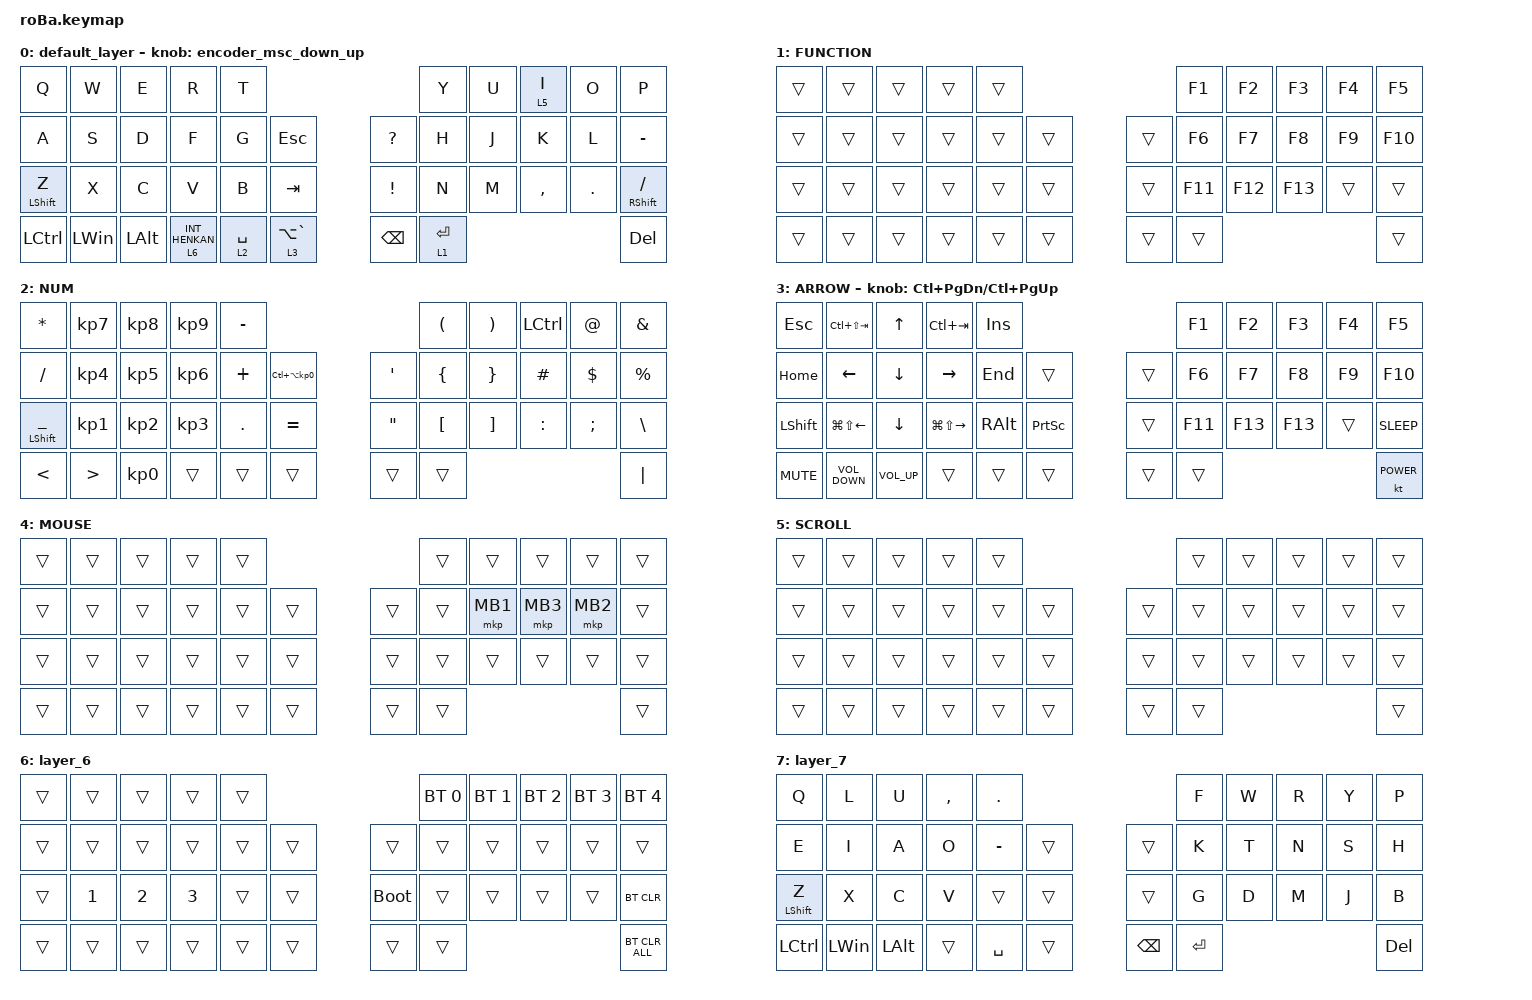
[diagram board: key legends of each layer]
#include <behaviors.dtsi>
#include <dt-bindings/zmk/bt.h>
#include <dt-bindings/zmk/keys.h>
#include <dt-bindings/zmk/pointing.h>

#define ZMK_POINTING_DEFAULT_SCRL_VAL 80

&mt {
    flavor = "balanced";
    quick-tap-ms = <0>;
};

&trackball {
    automouse-layer = <4>;
    scroll-layers = <5>;

    // arrows {
    //     layers = <3>;
    //     bindings =
    //         <&kp RIGHT_ARROW>,
    //         <&kp LEFT_ARROW>,
    //         <&kp UP_ARROW>,
    //         <&kp DOWN_ARROW>;
    //     tick = <10>;
    //     wait-ms = <5>;
    //     tap-ms = <5>;
    // };
};

/ {
    combos {
        compatible = "zmk,combos";

        tab {
            bindings = <&kp TAB>;
            key-positions = <11 12>;
        };

        shift_tab {
            bindings = <&kp LS(TAB)>;
            key-positions = <12 13>;
        };

        muhennkann {
            bindings = <&to_layer_0 INT_MUHENKAN>;
            key-positions = <11 10>;
        };

        double_quotation {
            bindings = <&kp DOUBLE_QUOTES>;
            key-positions = <20 21>;
        };

        eq {
            bindings = <&kp EQUAL>;
            key-positions = <24 25>;
        };
    };

    macros {
        to_layer_0: to_layer_0 {
            compatible = "zmk,behavior-macro-one-param";
            #binding-cells = <1>;
            bindings = <&to 0 &macro_param_1to1 &kp MACRO_PLACEHOLDER>;
            label = "TO_LAYER_0";
        };
    };

    behaviors {
        encoder_msc_down_up: encoder_msc_down_up {
            compatible = "zmk,behavior-sensor-rotate";
            label = "ENCODER_MSC_DOWN_UP";
            #sensor-binding-cells = <0>;
            bindings = <&msc SCRL_DOWN>, <&msc SCRL_UP>;

            tap-ms = <20>;
        };
    };

    behaviors {
        lt_to_layer_0: lt_to_layer_0 {
            compatible = "zmk,behavior-hold-tap";
            label = "LAYER_TAP_TO_0";
            bindings = <&mo>, <&to_layer_0>;

            #binding-cells = <2>;
            tapping-term-ms = <200>;
        };
    };

    keymap {
        compatible = "zmk,keymap";

        default_layer {
            bindings = <
&kp Q             &kp W         &kp E         &kp R                        &kp T                                                         &kp Y        &kp U  &lt 5 I    &kp O    &kp P
&kp A             &kp S         &kp D         &kp F                        &kp G        &kp ESC                         &kp QMARK        &kp H        &kp J  &kp K      &kp L    &kp MINUS
&mt LEFT_SHIFT Z  &kp X         &kp C         &kp V                        &kp B        &kp TAB                         &kp EXCLAMATION  &kp N        &kp M  &kp COMMA  &kp DOT  &mt RSHFT SLASH
&kp LCTRL         &kp LEFT_WIN  &kp LEFT_ALT  &lt_to_layer_0 6 INT_HENKAN  &lt 2 SPACE  &lt_to_layer_0 3 LA(GRAVE)      &kp BACKSPACE    &lt 1 ENTER                             &kp DEL
            >;

            sensor-bindings = <&encoder_msc_down_up>;
        };

        FUNCTION {
            bindings = <
&trans  &trans  &trans  &trans  &trans                      &kp F1   &kp F2   &kp F3   &kp F4  &kp F5
&trans  &trans  &trans  &trans  &trans  &trans      &trans  &kp F6   &kp F7   &kp F8   &kp F9  &kp F10
&trans  &trans  &trans  &trans  &trans  &trans      &trans  &kp F11  &kp F12  &kp F13  &trans  &trans
&trans  &trans  &trans  &trans  &trans  &trans      &trans  &trans                             &trans
            >;
        };

        NUM {
            bindings = <
&kp ASTRK             &kp KP_NUMBER_7   &kp KP_NUMBER_8  &kp KP_NUMBER_9  &kp MINUS                                                   &kp LEFT_PARENTHESIS  &kp RIGHT_PARENTHESIS  &kp LEFT_CONTROL  &kp AT      &kp AMPS
&kp SLASH             &kp KP_NUMBER_4   &kp KP_NUMBER_5  &kp KP_NUMBER_6  &kp PLUS    &kp LC(LA(KP_NUMBER_0))      &kp APOS           &kp LEFT_BRACE        &kp RIGHT_BRACE        &kp HASH          &kp DOLLAR  &kp PERCENT
&mt LEFT_SHIFT UNDER  &kp KP_NUMBER_1   &kp KP_NUMBER_2  &kp KP_NUMBER_3  &kp PERIOD  &kp EQUAL                    &kp DOUBLE_QUOTES  &kp LEFT_BRACKET      &kp RIGHT_BRACKET      &kp COLON         &kp SEMI    &kp BACKSLASH
&kp LESS_THAN         &kp GREATER_THAN  &kp KP_N0        &trans           &trans      &trans                       &trans             &trans                                                                     &kp PIPE
            >;
        };

        ARROW {
            bindings = <
&kp ESCAPE      &kp LC(LS(TAB))         &kp UP_ARROW     &kp LC(TAB)              &kp INSERT                               &kp F1   &kp F2   &kp F3   &kp F4  &kp F5
&kp HOME        &kp LEFT_ARROW          &kp DOWN_ARROW   &kp RIGHT_ARROW          &kp END     &trans               &trans  &kp F6   &kp F7   &kp F8   &kp F9  &kp F10
&kp LEFT_SHIFT  &kp LG(LS(LEFT_ARROW))  &kp DOWN         &kp LG(LS(RIGHT_ARROW))  &kp RALT    &kp PRINTSCREEN      &trans  &kp F11  &kp F13  &kp F13  &trans  &kp C_SLEEP
&kp K_MUTE      &kp C_VOLUME_DOWN       &kp C_VOLUME_UP  &trans                   &trans      &trans               &trans  &trans                             &kt K_POWER
            >;

            sensor-bindings = <&inc_dec_kp LC(PAGE_DOWN) LC(PAGE_UP)>;
        };

        MOUSE {
            bindings = <
&trans  &trans  &trans  &trans  &trans                      &trans  &trans    &trans    &trans    &trans
&trans  &trans  &trans  &trans  &trans  &trans      &trans  &trans  &mkp MB1  &mkp MB3  &mkp MB2  &trans
&trans  &trans  &trans  &trans  &trans  &trans      &trans  &trans  &trans    &trans    &trans    &trans
&trans  &trans  &trans  &trans  &trans  &trans      &trans  &trans                                &trans
            >;
        };

        SCROLL {
            bindings = <
&trans  &trans  &trans  &trans  &trans                      &trans  &trans  &trans  &trans  &trans
&trans  &trans  &trans  &trans  &trans  &trans      &trans  &trans  &trans  &trans  &trans  &trans
&trans  &trans  &trans  &trans  &trans  &trans      &trans  &trans  &trans  &trans  &trans  &trans
&trans  &trans  &trans  &trans  &trans  &trans      &trans  &trans                          &trans
            >;
        };

        layer_6 {
            bindings = <
&trans  &trans        &trans        &trans        &trans                           &bt BT_SEL 0  &bt BT_SEL 1  &bt BT_SEL 2  &bt BT_SEL 3  &bt BT_SEL 4
&trans  &trans        &trans        &trans        &trans  &trans      &trans       &trans        &trans        &trans        &trans        &trans
&trans  &kp NUMBER_1  &kp NUMBER_2  &kp NUMBER_3  &trans  &trans      &bootloader  &trans        &trans        &trans        &trans        &bt BT_CLR
&trans  &trans        &trans        &trans        &trans  &trans      &trans       &trans                                                  &bt BT_CLR_ALL
            >;
        };

        layer_7 {
            bindings = <
&kp Q             &kp L         &kp U     &kp COMMA  &kp DOT                          &kp F      &kp W  &kp R  &kp Y  &kp P
&kp E             &kp I         &kp A     &kp O      &kp MINUS  &trans      &trans    &kp K      &kp T  &kp N  &kp S  &kp H
&mt LEFT_SHIFT Z  &kp X         &kp C     &kp V      &trans     &trans      &trans    &kp G      &kp D  &kp M  &kp J  &kp B
&kp LEFT_CONTROL  &kp LEFT_WIN  &kp LALT  &trans     &kp SPACE  &trans      &kp BSPC  &kp ENTER                       &kp DEL
            >;
        };
    };
};
